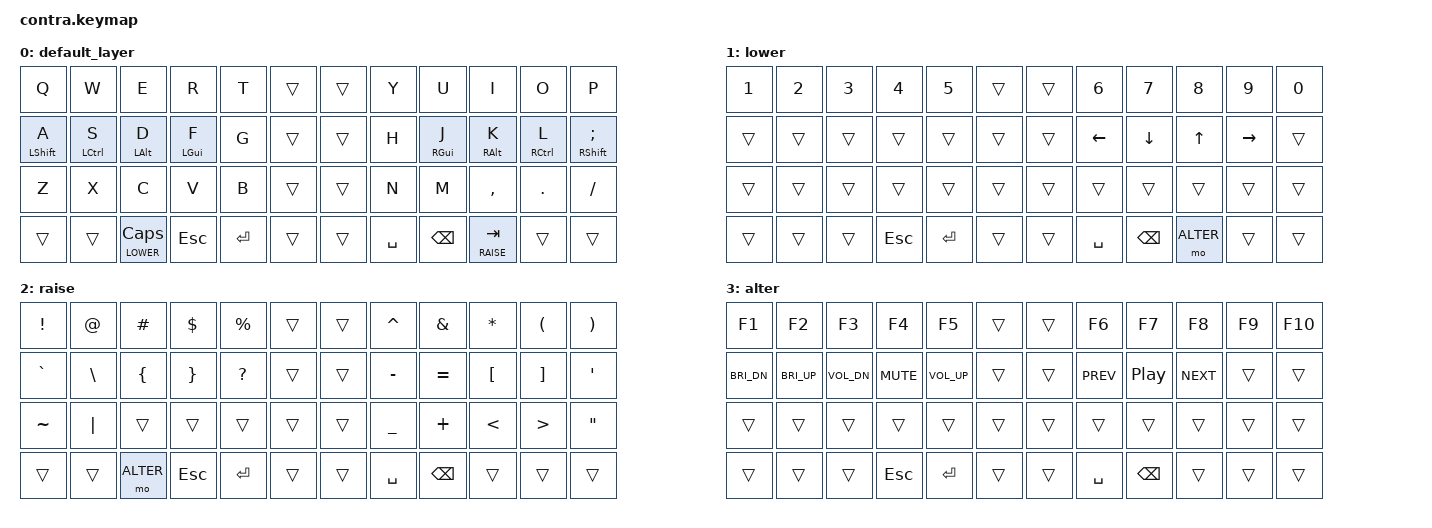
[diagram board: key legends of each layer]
/*
 * Copyright (c) 2021 The ZMK Contributors
 *
 * SPDX-License-Identifier: MIT
 */

#include <behaviors.dtsi>
#include <dt-bindings/zmk/keys.h>
#include <dt-bindings/zmk/bt.h>

#define DEFAULT  0
#define LOWER    1
#define RAISE    2
#define ALTER    3
&mt {
    tapping-term-ms = <200>;
    flavor = "tap-preferred";
    quick-tap-ms = <0>;
  };
/ {
    keymap {
        compatible = "zmk,keymap";

        default_layer {
            bindings = <
    &kp Q         &kp W         &kp E             &kp R             &kp T     &trans    &trans      &kp Y         &kp U           &kp I           &kp O         &kp P
    &mt LSHFT A   &mt LCTRL S   &mt LALT D        &mt LGUI F        &kp G     &trans    &trans      &kp H         &mt RGUI J      &mt RALT K      &mt RCTRL L   &mt RSHFT SEMI
    &kp Z         &kp X         &kp C             &kp V             &kp B     &trans    &trans      &kp N         &kp M           &kp COMMA       &kp DOT       &kp FSLH
    &trans        &trans        &lt LOWER CAPSLOCK    &kp ESC           &kp RET   &trans    &trans      &kp SPACE     &kp BSPC        &lt RAISE TAB   &trans        &trans
            >;
        };

        lower {
            bindings = <
    &kp N1    &kp N2    &kp N3    &kp N4    &kp N5    &trans    &trans      &kp N6      &kp N7      &kp N8      &kp N9      &kp N0
    &trans    &trans    &trans    &trans    &trans    &trans    &trans      &kp LEFT    &kp DOWN    &kp UP      &kp RIGHT   &trans
    &trans    &trans    &trans    &trans    &trans    &trans    &trans      &trans      &trans      &trans      &trans      &trans
    &trans    &trans    &trans    &kp ESC   &kp RET   &trans    &trans      &kp SPACE   &kp BSPC    &mo ALTER   &trans      &trans
            >;
        };

        raise {
            bindings = <
    &kp EXCL    &kp AT      &kp HASH    &kp DLLR    &kp PRCNT   &trans      &trans      &kp CARET   &kp AMPS    &kp ASTRK   &kp LPAR    &kp RPAR
    &kp GRAVE   &kp BSLH    &kp LBRC    &kp RBRC    &kp QMARK   &trans      &trans      &kp MINUS   &kp EQUAL   &kp LBKT    &kp RBKT    &kp SQT
    &kp TILDE   &kp PIPE    &trans      &trans      &trans      &trans      &trans      &kp UNDER   &kp PLUS    &kp LT      &kp GT      &kp DQT
    &trans      &trans      &mo ALTER   &kp ESC     &kp RET     &trans      &trans      &kp SPACE   &kp BSPC    &trans      &trans      &trans
            >;
        };

        alter {
            bindings = <
    &kp F1          &kp F2          &kp F3          &kp F4        &kp F5         &trans     &trans      &kp F6        &kp F7      &kp F8        &kp F9    &kp F10
    &kp C_BRI_DN    &kp C_BRI_UP    &kp C_VOL_DN    &kp C_MUTE    &kp C_VOL_UP   &trans     &trans      &kp C_PREV    &kp C_PP    &kp C_NEXT    &trans    &trans
    &trans          &trans          &trans          &trans        &trans         &trans     &trans      &trans        &trans      &trans        &trans    &trans
    &trans          &trans          &trans          &kp ESC       &kp RET        &trans     &trans      &kp SPACE     &kp BSPC    &trans        &trans    &trans
            >;
        };
    };
};
